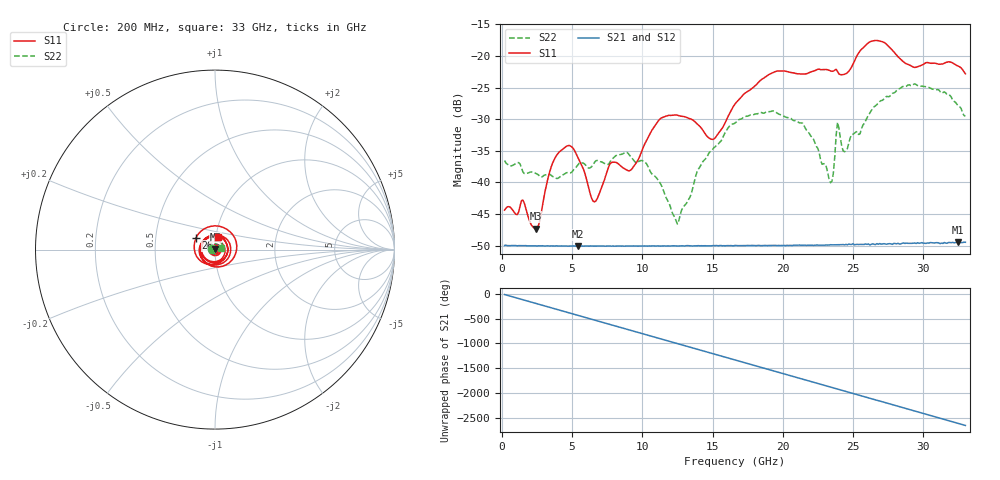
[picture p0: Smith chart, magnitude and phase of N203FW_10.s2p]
# GHZ S RI R 50
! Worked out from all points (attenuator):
!   329 points, 200 MHz to 33 GHz, reference 50 ohm
!   highest |S21| = -49.45 dB at 32.5 GHz (marker M1); lowest = -50.1 dB at 5.4 GHz (marker M2)
!   lowest |S11| = -47.3 dB at 2.4 GHz (marker M3), VSWR 1.01, Z = 50.3 + j0.338 ohm
!   |S11| at or under -10 dB: start of sweep to end of sweep
!   |S22| runs from -46.6 to -24.4 dB; largest |S21 - S12| = 8.8e-05
!   S11 on the Smith chart (normalised r, x): 200 MHz: 1.01, +0.00; 26 GHz: 0.80, +0.10; 33 GHz: 1.03, +0.14
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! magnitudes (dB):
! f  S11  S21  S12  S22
! 200 MHz  -44.4  -50.0  -49.9  -36.5
! 1.5 GHz  -42.8  -50.0  -50.0  -38.3
! 2.4 GHz  -47.3  -50.0  -50.0  -38.6
! 3.8 GHz  -36.1  -50.0  -50.0  -39.3
! 5.4 GHz  -36.0  -50.1  -50.0  -37.3
! 5.7 GHz  -37.3  -50.1  -50.0  -36.9
! 6.6 GHz  -43.1  -50.1  -50.1  -36.8
! 7.7 GHz  -37.1  -50.0  -50.1  -36.8
! 8.9 GHz  -38.0  -50.0  -50.1  -35.2
! 11.2 GHz  -30.1  -50.1  -50.0  -39.8
! 12.5 GHz  -29.4  -50.0  -50.0  -46.6
! 15 GHz  -33.2  -50.0  -50.0  -34.8
! 16.6 GHz  -27.6  -50.0  -50.0  -30.6
! 19.3 GHz  -22.6  -50.0  -50.0  -28.7
! 22.1 GHz  -22.5  -49.9  -49.9  -32.9
! 23.4 GHz  -22.4  -49.8  -49.9  -40.1
! 23.9 GHz  -22.5  -49.9  -49.9  -30.5
! 24.4 GHz  -22.9  -49.9  -49.8  -35.2
! 26 GHz  -18.1  -49.8  -49.7  -29.8
! 27.6 GHz  -18.6  -49.7  -49.7  -26.4
! 32.5 GHz  -21.6  -49.4  -49.4  -27.9
! 33 GHz  -22.8  -49.5  -49.5  -29.5
